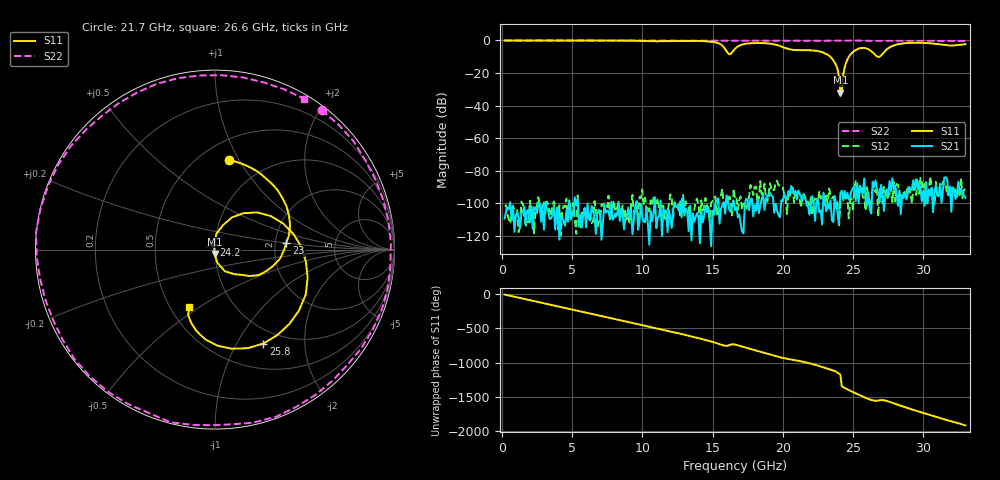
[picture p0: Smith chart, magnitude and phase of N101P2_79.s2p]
# GHZ S RI R 50
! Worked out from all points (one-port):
!   329 points, 200 MHz to 33 GHz, reference 50 ohm
!   lowest |S11| = -32.0 dB at 24.1 GHz (marker M1), VSWR 1.05, Z = 49.7 - j2.48 ohm
!   |S11| at or under -10 dB: 23.38 GHz to 24.7 GHz (1.325 GHz wide, 5.51 % of centre); 26.7785 GHz to 26.84721 GHz (68.71 MHz wide, 0.256 % of centre)
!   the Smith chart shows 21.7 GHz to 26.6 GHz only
!   S11 on the Smith chart (normalised r, x): 21.7 GHz: 0.68, +0.91; 23 GHz: 2.30, +0.21; 24.2 GHz: 0.99, +0.06; 25.8 GHz: 0.81, -1.30; 26.6 GHz: 0.62, -0.45
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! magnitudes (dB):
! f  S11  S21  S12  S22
! 200 MHz  0.0  -109.3  -101.7  0.0
! 5.7 GHz  0.0  -114.9  -104.8  0.0
! 11.2 GHz  -0.5  -107.9  -103.5  -0.2
! 15.2 GHz  -1.1  -100.0  -95.8  -0.1
! 16.2 GHz  -8.5  -104.1  -95.8  -0.2
! 16.6 GHz  -5.1  -104.3  -96.4  -0.1
! 18.5 GHz  -1.6  -97.5  -94.7  -0.1
! 21.7 GHz  -5.9  -101.5  -99.2  -0.2
! 22.1 GHz  -6.1  -95.6  -107.4  -0.2
! 23 GHz  -8.0  -99.4  -101.1  -0.2
! 23.8 GHz  -15.2  -100.8  -102.0  -0.1
! 24 GHz  -22.6  -113.1  -113.6  -0.2
! 24.1 GHz  -32.0  -94.1  -98.9  -0.1
! 24.2 GHz  -31.0  -92.3  -98.0  -0.1
! 24.3 GHz  -21.0  -97.5  -98.8  -0.1
! 24.4 GHz  -16.8  -92.4  -92.9  -0.1
! 24.7 GHz  -10.1  -97.9  -109.3  -0.1
! 25.8 GHz  -4.6  -84.7  -96.1  -0.2
! 26.6 GHz  -9.1  -86.0  -93.1  -0.2
! 26.9 GHz  -9.9  -98.9  -91.8  -0.2
! 27.6 GHz  -4.3  -86.3  -93.8  -0.2
! 33 GHz  -2.2  -96.6  -91.5  -0.3
